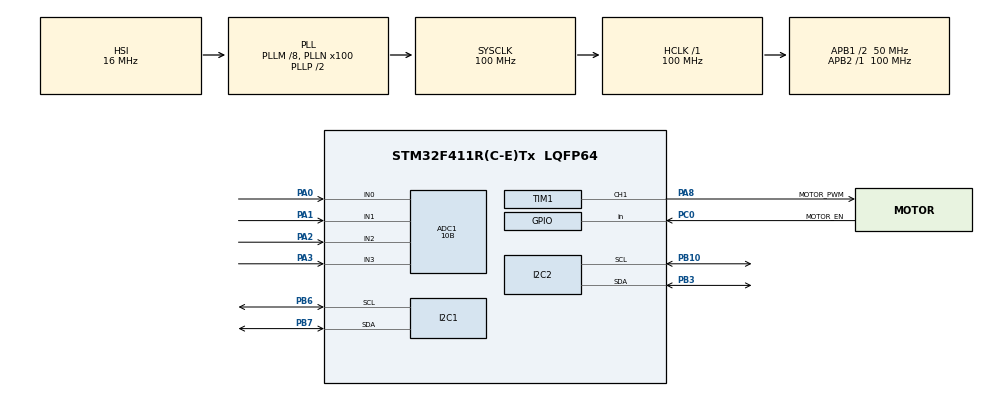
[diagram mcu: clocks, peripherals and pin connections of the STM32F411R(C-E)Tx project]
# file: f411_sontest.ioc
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ADC1.Channel-0\#ChannelRegularConversion=ADC_CHANNEL_0
ADC1.Channel-1\#ChannelRegularConversion=ADC_CHANNEL_1
ADC1.Channel-2\#ChannelRegularConversion=ADC_CHANNEL_2
ADC1.Channel-3\#ChannelRegularConversion=ADC_CHANNEL_3
ADC1.ContinuousConvMode=ENABLE
ADC1.DMAContinuousRequests=ENABLE
ADC1.NbrOfConversion=4
ADC1.NbrOfConversionFlag=1
ADC1.Rank-0\#ChannelRegularConversion=1
ADC1.Rank-1\#ChannelRegularConversion=2
ADC1.Rank-2\#ChannelRegularConversion=3
ADC1.Rank-3\#ChannelRegularConversion=4
ADC1.Resolution=ADC_RESOLUTION_10B
ADC1.SamplingTime-0\#ChannelRegularConversion=ADC_SAMPLETIME_480CYCLES
ADC1.SamplingTime-1\#ChannelRegularConversion=ADC_SAMPLETIME_480CYCLES
ADC1.SamplingTime-2\#ChannelRegularConversion=ADC_SAMPLETIME_480CYCLES
ADC1.SamplingTime-3\#ChannelRegularConversion=ADC_SAMPLETIME_480CYCLES
ADC1.ScanConvMode=ENABLE
ADC1.master=1
Dma.ADC1.0.Direction=DMA_PERIPH_TO_MEMORY
Dma.ADC1.0.FIFOMode=DMA_FIFOMODE_DISABLE
Dma.ADC1.0.Instance=DMA2_Stream0
Dma.ADC1.0.MemDataAlignment=DMA_MDATAALIGN_WORD
Dma.ADC1.0.MemInc=DMA_MINC_ENABLE
Dma.ADC1.0.Mode=DMA_CIRCULAR
Dma.ADC1.0.PeriphDataAlignment=DMA_PDATAALIGN_WORD
Dma.ADC1.0.PeriphInc=DMA_PINC_DISABLE
Dma.ADC1.0.Priority=DMA_PRIORITY_LOW
Dma.Request0=ADC1
Mcu.Family=STM32F4
Mcu.Name=STM32F411R(C-E)Tx
Mcu.Package=LQFP64
NVIC.ADC_IRQn=true\:0\:0\:false\:false\:true\:true\:true\:true
NVIC.DMA2_Stream0_IRQn=true\:0\:0\:false\:false\:true\:false\:true\:true
NVIC.PriorityGroup=NVIC_PRIORITYGROUP_4
PA0-WKUP.Signal=ADCx_IN0
PA1.Signal=ADCx_IN1
PA13.Mode=Serial_Wire
PA13.Signal=SYS_JTMS-SWDIO
PA14.Mode=Serial_Wire
PA14.Signal=SYS_JTCK-SWCLK
PA2.Signal=ADCx_IN2
PA3.Signal=ADCx_IN3
PA8.GPIO_Label=MOTOR_PWM
PA8.Signal=S_TIM1_CH1
PB10.GPIO_Pu=GPIO_PULLUP
PB10.Mode=I2C
PB10.Signal=I2C2_SCL
PB3.GPIO_Pu=GPIO_PULLUP
PB3.Mode=I2C
PB3.Signal=I2C2_SDA
PB6.GPIO_Pu=GPIO_PULLUP
PB6.Mode=I2C
PB6.Signal=I2C1_SCL
PB7.GPIO_Pu=GPIO_PULLUP
PB7.Mode=I2C
PB7.Signal=I2C1_SDA
PC0.GPIO_Label=MOTOR_EN
PC0.Signal=GPIO_Input
PC14-OSC32_IN.Mode=LSE-External-Oscillator
PC14-OSC32_IN.Signal=RCC_OSC32_IN
PC15-OSC32_OUT.Mode=LSE-External-Oscillator
PC15-OSC32_OUT.Signal=RCC_OSC32_OUT
PH0\ -\ OSC_IN.Mode=HSE-External-Oscillator
PH0\ -\ OSC_IN.Signal=RCC_OSC_IN
PH1\ -\ OSC_OUT.Mode=HSE-External-Oscillator
PH1\ -\ OSC_OUT.Signal=RCC_OSC_OUT
ProjectManager.HeapSize=0x2000
ProjectManager.StackSize=0x4000
ProjectManager.TargetToolchain=MDK-ARM V5.32
RCC.48MHZClocksFreq_Value=50000000
RCC.AHBFreq_Value=100000000
RCC.APB1CLKDivider=RCC_HCLK_DIV2
RCC.APB1Freq_Value=50000000
RCC.APB1TimFreq_Value=100000000
RCC.APB2Freq_Value=100000000
RCC.APB2TimFreq_Value=100000000
RCC.CortexFreq_Value=100000000
RCC.HCLKFreq_Value=100000000
RCC.HSE_VALUE=25000000
RCC.HSI_VALUE=16000000
RCC.PLLM=8
RCC.PLLN=100
RCC.SYSCLKFreq_VALUE=100000000
RCC.SYSCLKSource=RCC_SYSCLKSOURCE_PLLCLK
RCC.VCOOutputFreq_Value=200000000
SH.ADCx_IN0.0=ADC1_IN0,IN0
SH.ADCx_IN1.0=ADC1_IN1,IN1
SH.ADCx_IN2.0=ADC1_IN2,IN2
SH.ADCx_IN3.0=ADC1_IN3,IN3
SH.S_TIM1_CH1.0=TIM1_CH1,PWM Generation1 CH1
TIM1.Channel-PWM\ Generation1\ CH1=TIM_CHANNEL_1
TIM1.Period=100-1
TIM1.Prescaler=1000-1
VP_TIM1_VS_ClockSourceINT.Mode=Internal
board=custom

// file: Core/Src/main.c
/* USER CODE BEGIN Header */
/**
  ******************************************************************************
  * @file           : main.c
  * @brief          : Main program body
  ******************************************************************************
  * @attention
  *
  * Copyright (c) 2022 STMicroelectronics.
  * All rights reserved.
  *
  * This software is licensed under terms that can be found in the LICENSE file
  * in the root directory of this software component.
  * If no LICENSE file comes with this software, it is provided AS-IS.
  *
  ******************************************************************************
  */
/* USER CODE END Header */
#include "main.h"

/* USER CODE BEGIN Includes */
#include "MPU6050.h"
#include "lcd_i2cModule.h"
#include "stdio.h"
#include "math.h"
#include "PID.h"
/* USER CODE END Includes */

/* USER CODE BEGIN PD */
#define ADC_BUFFER_LEN 4

/* USER CODE END PD */

 ADC_HandleTypeDef hadc1;
DMA_HandleTypeDef hdma_adc1;

I2C_HandleTypeDef hi2c1;
I2C_HandleTypeDef hi2c2;

TIM_HandleTypeDef htim1;

/* USER CODE BEGIN PV */
uint32_t adcBuffer[ADC_BUFFER_LEN];

uint32_t temp = 0;

float setPoint = 0.0, setPoint_r = 0.0;
float presentValue = 0.0, presentValue_r = 0.0;
float Kp = 0.0, Kp_r = 0.0;
float Ki = 1.3, Ki_r = 0.0;
float Kd = 0.4, Kd_r = 0.0;

struct MPU6050 myMPU;
float pitch = 0;
uint32_t _timer = 0;
uint32_t _timer_pid = 0;
float dt_pid = 0;
float dt = 0;
float pitch_raw = 0;
int forceMagnitudeApprox;

PID_t myPID;
uint32_t u = 0;

/* USER CODE END PV */

void SystemClock_Config(void);
static void MX_GPIO_Init(void);
static void MX_DMA_Init(void);
static void MX_ADC1_Init(void);
static void MX_I2C1_Init(void);
static void MX_I2C2_Init(void);
static void MX_TIM1_Init(void);
/* USER CODE BEGIN PFP */

		float mapPot(uint32_t val, float maxVal, uint32_t maxRaw){
	return (val * maxVal) / maxRaw;
}

/* USER CODE END PFP */

/* USER CODE BEGIN 0 */
uint16_t setDeger = 0;
/* USER CODE END 0 */

int main(void)
{

  /* MCU Configuration--------------------------------------------------------*/

  /* Reset of all peripherals, Initializes the Flash interface and the Systick. */
  HAL_Init();

  /* Configure the system clock */
  SystemClock_Config();

  /* Initialize all configured peripherals */
  MX_GPIO_Init();
  MX_DMA_Init();
  MX_ADC1_Init();
  MX_I2C1_Init();
  MX_I2C2_Init();
  MX_TIM1_Init();
  /* USER CODE BEGIN 2 */
	MPU6050Init(&hi2c2, &myMPU, 0, 3, 3, 0);

	HAL_TIM_PWM_Start(&htim1, TIM_CHANNEL_1);
	HAL_ADC_Start_DMA(&hadc1, adcBuffer, 4);

	LCD_i2cDeviceCheck();
	LCD_Init();
  LCD_BackLight(LCD_BL_ON);

	MPU6050UpdateGyro();
	MPU6050UpdateAccel();

	pitch = atan2f((float)myMPU.accelY, (float)myMPU.accelZ) * 180 / 3.14159265359f;

	_timer = HAL_GetTick();

  /* USER CODE END 2 */

  /* Infinite loop */
  while (1)
  {

    /* USER CODE BEGIN 3 */
		MPU6050UpdateAccel();
	  MPU6050UpdateGyro();

	  dt = (HAL_GetTick() - _timer) / 1000000.0;
	  _timer = HAL_GetTick();

	  pitch += ((float)myMPU.gyroX / 16.4f) * dt; // Angle around the X-axis

	  pitch_raw = atan2f((float)myMPU.accelY, (float)myMPU.accelZ) * 180 / 3.14159265359f;

	  pitch = 0.98f * pitch + 0.02f * pitch_raw;

	  presentValue = (-1) * pitch;

	  setPoint_r = adcBuffer[0] < 100 ? 0 : adcBuffer[0];
	  setPoint = mapPot(setPoint_r, 100, 1023) - 60;

	  Kp_r = adcBuffer[1] < 50 ? 0 : adcBuffer[1];
	  Kp = mapPot(Kp_r, 3, 1023);
	  PID_set_Kp(&myPID, Kp);

	  dt_pid = (HAL_GetTick() - _timer_pid) / 1000.0;
	  _timer_pid = HAL_GetTick();
	  u = PID_iterate(&myPID, setPoint, presentValue, dt_pid);

	  if(u >= 100){
		  u = 99;
	  }
	  else if(u < 0){
		  u = 0;
	  }

	  __HAL_TIM_SET_COMPARE(&htim1, TIM_CHANNEL_1, u);

		LCD_SetCursor(1,1);
	  LCD_Print("S:%.2f", setPoint);
		LCD_SetCursor(1,8);
		LCD_Print("P:%.2f", Kp);
		LCD_SetCursor(2,1);
		LCD_Print("I:%.2f", Ki);
		LCD_SetCursor(2,8);
		LCD_Print("A:%.2f  ", presentValue);

		HAL_Delay(20);

  }
  /* USER CODE END 3 */
}

void SystemClock_Config(void)
{
  RCC_OscInitTypeDef RCC_OscInitStruct = {0};
  RCC_ClkInitTypeDef RCC_ClkInitStruct = {0};

  /** Configure the main internal regulator output voltage
  */
  __HAL_RCC_PWR_CLK_ENABLE();
  __HAL_PWR_VOLTAGESCALING_CONFIG(PWR_REGULATOR_VOLTAGE_SCALE1);

  /** Initializes the RCC Oscillators according to the specified parameters
  * in the RCC_OscInitTypeDef structure.
  */
  RCC_OscInitStruct.OscillatorType = RCC_OSCILLATORTYPE_HSI;
  RCC_OscInitStruct.HSIState = RCC_HSI_ON;
  RCC_OscInitStruct.HSICalibrationValue = RCC_HSICALIBRATION_DEFAULT;
  RCC_OscInitStruct.PLL.PLLState = RCC_PLL_ON;
  RCC_OscInitStruct.PLL.PLLSource = RCC_PLLSOURCE_HSI;
  RCC_OscInitStruct.PLL.PLLM = 8;
  RCC_OscInitStruct.PLL.PLLN = 100;
  RCC_OscInitStruct.PLL.PLLP = RCC_PLLP_DIV2;
  RCC_OscInitStruct.PLL.PLLQ = 4;
  if (HAL_RCC_OscConfig(&RCC_OscInitStruct) != HAL_OK)
  {
    Error_Handler();
  }

  /** Initializes the CPU, AHB and APB buses clocks
  */
  RCC_ClkInitStruct.ClockType = RCC_CLOCKTYPE_HCLK|RCC_CLOCKTYPE_SYSCLK
                              |RCC_CLOCKTYPE_PCLK1|RCC_CLOCKTYPE_PCLK2;
  RCC_ClkInitStruct.SYSCLKSource = RCC_SYSCLKSOURCE_PLLCLK;
  RCC_ClkInitStruct.AHBCLKDivider = RCC_SYSCLK_DIV1;
  RCC_ClkInitStruct.APB1CLKDivider = RCC_HCLK_DIV2;
  RCC_ClkInitStruct.APB2CLKDivider = RCC_HCLK_DIV1;

  if (HAL_RCC_ClockConfig(&RCC_ClkInitStruct, FLASH_LATENCY_3) != HAL_OK)
  {
    Error_Handler();
  }
}

static void MX_ADC1_Init(void)
{

  ADC_ChannelConfTypeDef sConfig = {0};

  /** Configure the global features of the ADC (Clock, Resolution, Data Alignment and number of conversion)
  */
  hadc1.Instance = ADC1;
  hadc1.Init.ClockPrescaler = ADC_CLOCK_SYNC_PCLK_DIV4;
  hadc1.Init.Resolution = ADC_RESOLUTION_10B;
  hadc1.Init.ScanConvMode = ENABLE;
  hadc1.Init.ContinuousConvMode = ENABLE;
  hadc1.Init.DiscontinuousConvMode = DISABLE;
  hadc1.Init.ExternalTrigConvEdge = ADC_EXTERNALTRIGCONVEDGE_NONE;
  hadc1.Init.ExternalTrigConv = ADC_SOFTWARE_START;
  hadc1.Init.DataAlign = ADC_DATAALIGN_RIGHT;
  hadc1.Init.NbrOfConversion = 4;
  hadc1.Init.DMAContinuousRequests = ENABLE;
  hadc1.Init.EOCSelection = ADC_EOC_SINGLE_CONV;
  if (HAL_ADC_Init(&hadc1) != HAL_OK)
  {
    Error_Handler();
  }

  /** Configure for the selected ADC regular channel its corresponding rank in the sequencer and its sample time.
  */
  sConfig.Channel = ADC_CHANNEL_0;
  sConfig.Rank = 1;
  sConfig.SamplingTime = ADC_SAMPLETIME_480CYCLES;
  if (HAL_ADC_ConfigChannel(&hadc1, &sConfig) != HAL_OK)
  {
    Error_Handler();
  }

  /** Configure for the selected ADC regular channel its corresponding rank in the sequencer and its sample time.
  */
  sConfig.Channel = ADC_CHANNEL_1;
  sConfig.Rank = 2;
  if (HAL_ADC_ConfigChannel(&hadc1, &sConfig) != HAL_OK)
  {
    Error_Handler();
  }

  /** Configure for the selected ADC regular channel its corresponding rank in the sequencer and its sample time.
  */
  sConfig.Channel = ADC_CHANNEL_2;
  sConfig.Rank = 3;
  if (HAL_ADC_ConfigChannel(&hadc1, &sConfig) != HAL_OK)
  {
    Error_Handler();
  }

  /** Configure for the selected ADC regular channel its corresponding rank in the sequencer and its sample time.
  */
  sConfig.Channel = ADC_CHANNEL_3;
  sConfig.Rank = 4;
  if (HAL_ADC_ConfigChannel(&hadc1, &sConfig) != HAL_OK)
  {
    Error_Handler();
  }

}

static void MX_I2C1_Init(void)
{

  hi2c1.Instance = I2C1;
  hi2c1.Init.ClockSpeed = 100000;
  hi2c1.Init.DutyCycle = I2C_DUTYCYCLE_2;
  hi2c1.Init.OwnAddress1 = 0;
  hi2c1.Init.AddressingMode = I2C_ADDRESSINGMODE_7BIT;
  hi2c1.Init.DualAddressMode = I2C_DUALADDRESS_DISABLE;
  hi2c1.Init.OwnAddress2 = 0;
  hi2c1.Init.GeneralCallMode = I2C_GENERALCALL_DISABLE;
  hi2c1.Init.NoStretchMode = I2C_NOSTRETCH_DISABLE;
  if (HAL_I2C_Init(&hi2c1) != HAL_OK)
  {
    Error_Handler();
  }

}

static void MX_I2C2_Init(void)
{

  hi2c2.Instance = I2C2;
  hi2c2.Init.ClockSpeed = 100000;
  hi2c2.Init.DutyCycle = I2C_DUTYCYCLE_2;
  hi2c2.Init.OwnAddress1 = 0;
  hi2c2.Init.AddressingMode = I2C_ADDRESSINGMODE_7BIT;
  hi2c2.Init.DualAddressMode = I2C_DUALADDRESS_DISABLE;
  hi2c2.Init.OwnAddress2 = 0;
  hi2c2.Init.GeneralCallMode = I2C_GENERALCALL_DISABLE;
  hi2c2.Init.NoStretchMode = I2C_NOSTRETCH_DISABLE;
  if (HAL_I2C_Init(&hi2c2) != HAL_OK)
  {
    Error_Handler();
  }

}

static void MX_TIM1_Init(void)
{

  TIM_ClockConfigTypeDef sClockSourceConfig = {0};
  TIM_MasterConfigTypeDef sMasterConfig = {0};
  TIM_OC_InitTypeDef sConfigOC = {0};
  TIM_BreakDeadTimeConfigTypeDef sBreakDeadTimeConfig = {0};

  htim1.Instance = TIM1;
  htim1.Init.Prescaler = 1000-1;
  htim1.Init.CounterMode = TIM_COUNTERMODE_UP;
  htim1.Init.Period = 100-1;
  htim1.Init.ClockDivision = TIM_CLOCKDIVISION_DIV1;
  htim1.Init.RepetitionCounter = 0;
  htim1.Init.AutoReloadPreload = TIM_AUTORELOAD_PRELOAD_DISABLE;
  if (HAL_TIM_Base_Init(&htim1) != HAL_OK)
  {
    Error_Handler();
  }
  sClockSourceConfig.ClockSource = TIM_CLOCKSOURCE_INTERNAL;
  if (HAL_TIM_ConfigClockSource(&htim1, &sClockSourceConfig) != HAL_OK)
  {
    Error_Handler();
  }
  if (HAL_TIM_PWM_Init(&htim1) != HAL_OK)
  {
    Error_Handler();
  }
  sMasterConfig.MasterOutputTrigger = TIM_TRGO_RESET;
  sMasterConfig.MasterSlaveMode = TIM_MASTERSLAVEMODE_DISABLE;
  if (HAL_TIMEx_MasterConfigSynchronization(&htim1, &sMasterConfig) != HAL_OK)
  {
    Error_Handler();
  }
  sConfigOC.OCMode = TIM_OCMODE_PWM1;
  sConfigOC.Pulse = 0;
  sConfigOC.OCPolarity = TIM_OCPOLARITY_HIGH;
  sConfigOC.OCNPolarity = TIM_OCNPOLARITY_HIGH;
  sConfigOC.OCFastMode = TIM_OCFAST_DISABLE;
  sConfigOC.OCIdleState = TIM_OCIDLESTATE_RESET;
  sConfigOC.OCNIdleState = TIM_OCNIDLESTATE_RESET;
  if (HAL_TIM_PWM_ConfigChannel(&htim1, &sConfigOC, TIM_CHANNEL_1) != HAL_OK)
  {
    Error_Handler();
  }
  sBreakDeadTimeConfig.OffStateRunMode = TIM_OSSR_DISABLE;
  sBreakDeadTimeConfig.OffStateIDLEMode = TIM_OSSI_DISABLE;
  sBreakDeadTimeConfig.LockLevel = TIM_LOCKLEVEL_OFF;
  sBreakDeadTimeConfig.DeadTime = 0;
  sBreakDeadTimeConfig.BreakState = TIM_BREAK_DISABLE;
  sBreakDeadTimeConfig.BreakPolarity = TIM_BREAKPOLARITY_HIGH;
  sBreakDeadTimeConfig.AutomaticOutput = TIM_AUTOMATICOUTPUT_DISABLE;
  if (HAL_TIMEx_ConfigBreakDeadTime(&htim1, &sBreakDeadTimeConfig) != HAL_OK)
  {
    Error_Handler();
  }
  HAL_TIM_MspPostInit(&htim1);

}

static void MX_DMA_Init(void)
{

  /* DMA controller clock enable */
  __HAL_RCC_DMA2_CLK_ENABLE();

  /* DMA interrupt init */
  /* DMA2_Stream0_IRQn interrupt configuration */
  HAL_NVIC_SetPriority(DMA2_Stream0_IRQn, 0, 0);
  HAL_NVIC_EnableIRQ(DMA2_Stream0_IRQn);

}

static void MX_GPIO_Init(void)
{
  GPIO_InitTypeDef GPIO_InitStruct = {0};

  /* GPIO Ports Clock Enable */
  __HAL_RCC_GPIOC_CLK_ENABLE();
  __HAL_RCC_GPIOH_CLK_ENABLE();
  __HAL_RCC_GPIOA_CLK_ENABLE();
  __HAL_RCC_GPIOB_CLK_ENABLE();

  /*Configure GPIO pin : PC0 */
  GPIO_InitStruct.Pin = GPIO_PIN_0;
  GPIO_InitStruct.Mode = GPIO_MODE_INPUT;
  GPIO_InitStruct.Pull = GPIO_NOPULL;
  HAL_GPIO_Init(GPIOC, &GPIO_InitStruct);

}

void Error_Handler(void)
{
  __disable_irq();
  while (1)
  {
  }
}
